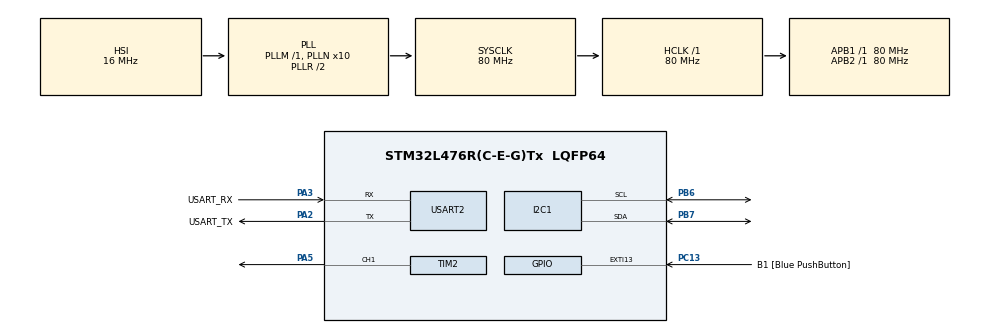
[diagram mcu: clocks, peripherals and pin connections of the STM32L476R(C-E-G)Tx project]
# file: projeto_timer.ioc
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Dma.I2C1_RX.0.Direction=DMA_PERIPH_TO_MEMORY
Dma.I2C1_RX.0.Instance=DMA2_Channel6
Dma.I2C1_RX.0.MemDataAlignment=DMA_MDATAALIGN_BYTE
Dma.I2C1_RX.0.MemInc=DMA_MINC_ENABLE
Dma.I2C1_RX.0.Mode=DMA_NORMAL
Dma.I2C1_RX.0.PeriphDataAlignment=DMA_PDATAALIGN_BYTE
Dma.I2C1_RX.0.PeriphInc=DMA_PINC_DISABLE
Dma.I2C1_RX.0.Priority=DMA_PRIORITY_LOW
Dma.I2C1_TX.1.Direction=DMA_MEMORY_TO_PERIPH
Dma.I2C1_TX.1.Instance=DMA2_Channel7
Dma.I2C1_TX.1.MemDataAlignment=DMA_MDATAALIGN_BYTE
Dma.I2C1_TX.1.MemInc=DMA_MINC_ENABLE
Dma.I2C1_TX.1.Mode=DMA_NORMAL
Dma.I2C1_TX.1.PeriphDataAlignment=DMA_PDATAALIGN_BYTE
Dma.I2C1_TX.1.PeriphInc=DMA_PINC_DISABLE
Dma.I2C1_TX.1.Priority=DMA_PRIORITY_LOW
Dma.Request0=I2C1_RX
Dma.Request1=I2C1_TX
Dma.Request2=USART2_RX
Dma.Request3=USART2_TX
Dma.USART2_RX.2.Direction=DMA_PERIPH_TO_MEMORY
Dma.USART2_RX.2.Instance=DMA1_Channel6
Dma.USART2_RX.2.MemDataAlignment=DMA_MDATAALIGN_BYTE
Dma.USART2_RX.2.MemInc=DMA_MINC_ENABLE
Dma.USART2_RX.2.Mode=DMA_NORMAL
Dma.USART2_RX.2.PeriphDataAlignment=DMA_PDATAALIGN_BYTE
Dma.USART2_RX.2.PeriphInc=DMA_PINC_DISABLE
Dma.USART2_RX.2.Priority=DMA_PRIORITY_LOW
Dma.USART2_TX.3.Direction=DMA_MEMORY_TO_PERIPH
Dma.USART2_TX.3.Instance=DMA1_Channel7
Dma.USART2_TX.3.MemDataAlignment=DMA_MDATAALIGN_BYTE
Dma.USART2_TX.3.MemInc=DMA_MINC_ENABLE
Dma.USART2_TX.3.Mode=DMA_NORMAL
Dma.USART2_TX.3.PeriphDataAlignment=DMA_PDATAALIGN_BYTE
Dma.USART2_TX.3.PeriphInc=DMA_PINC_DISABLE
Dma.USART2_TX.3.Priority=DMA_PRIORITY_LOW
I2C1.Timing=0x10D19CE4
Mcu.Family=STM32L4
Mcu.Name=STM32L476R(C-E-G)Tx
Mcu.Package=LQFP64
NVIC.DMA1_Channel6_IRQn=true\:0\:0\:false\:false\:true\:false\:true\:true
NVIC.DMA1_Channel7_IRQn=true\:0\:0\:false\:false\:true\:false\:true\:true
NVIC.DMA2_Channel6_IRQn=true\:0\:0\:false\:false\:true\:false\:true\:true
NVIC.DMA2_Channel7_IRQn=true\:0\:0\:false\:false\:true\:false\:true\:true
NVIC.EXTI15_10_IRQn=true\:0\:0\:false\:false\:true\:true\:true\:true
NVIC.I2C1_ER_IRQn=true\:0\:0\:false\:false\:true\:true\:true\:true
NVIC.I2C1_EV_IRQn=true\:0\:0\:false\:false\:true\:true\:true\:true
NVIC.PriorityGroup=NVIC_PRIORITYGROUP_4
NVIC.TIM2_IRQn=true\:0\:0\:false\:false\:true\:true\:true\:true
NVIC.USART2_IRQn=true\:0\:0\:false\:false\:true\:true\:true\:true
PA13\ (JTMS-SWDIO).GPIO_Label=TMS
PA13\ (JTMS-SWDIO).Mode=Serial_Wire
PA13\ (JTMS-SWDIO).Signal=SYS_JTMS-SWDIO
PA14\ (JTCK-SWCLK).GPIO_Label=TCK
PA14\ (JTCK-SWCLK).Mode=Serial_Wire
PA14\ (JTCK-SWCLK).Signal=SYS_JTCK-SWCLK
PA2.GPIO_Label=USART_TX
PA2.GPIO_Mode=GPIO_MODE_AF_PP
PA2.GPIO_PuPd=GPIO_NOPULL
PA2.GPIO_Speed=GPIO_SPEED_FREQ_VERY_HIGH
PA2.Mode=Asynchronous
PA2.Signal=USART2_TX
PA3.GPIO_Label=USART_RX
PA3.GPIO_Mode=GPIO_MODE_AF_PP
PA3.GPIO_PuPd=GPIO_NOPULL
PA3.GPIO_Speed=GPIO_SPEED_FREQ_VERY_HIGH
PA3.Mode=Asynchronous
PA3.Signal=USART2_RX
PA5.Signal=S_TIM2_CH1
PB3\ (JTDO-TRACESWO).GPIO_Label=SWO
PB3\ (JTDO-TRACESWO).Signal=SYS_JTDO-SWO
PB6.GPIO_Pu=GPIO_PULLUP
PB6.Mode=I2C
PB6.Signal=I2C1_SCL
PB7.GPIO_Pu=GPIO_PULLUP
PB7.Mode=I2C
PB7.Signal=I2C1_SDA
PC13.GPIO_Label=B1 [Blue PushButton]
PC13.GPIO_ModeDefaultEXTI=GPIO_MODE_IT_FALLING
PC13.GPIO_PuPd=GPIO_NOPULL
PC13.Signal=GPXTI13
PC14-OSC32_IN\ (PC14).Mode=LSE-External-Oscillator
PC14-OSC32_IN\ (PC14).Signal=RCC_OSC32_IN
PC15-OSC32_OUT\ (PC15).Mode=LSE-External-Oscillator
PC15-OSC32_OUT\ (PC15).Signal=RCC_OSC32_OUT
PH0-OSC_IN\ (PH0).Signal=RCC_OSC_IN
PH1-OSC_OUT\ (PH1).Signal=RCC_OSC_OUT
ProjectManager.HeapSize=0x200
ProjectManager.StackSize=0x400
ProjectManager.TargetToolchain=STM32CubeIDE
RCC.ADCFreq_Value=64000000
RCC.AHBFreq_Value=80000000
RCC.APB1Freq_Value=80000000
RCC.APB1TimFreq_Value=80000000
RCC.APB2Freq_Value=80000000
RCC.APB2TimFreq_Value=80000000
RCC.CortexFreq_Value=80000000
RCC.HCLKFreq_Value=80000000
RCC.HSE_VALUE=8000000
RCC.HSI_VALUE=16000000
RCC.MSI_VALUE=4000000
RCC.PLLN=10
RCC.PLLSourceVirtual=RCC_PLLSOURCE_HSI
RCC.PREFETCH_ENABLE=1
RCC.SYSCLKFreq_VALUE=80000000
RCC.SYSCLKSource=RCC_SYSCLKSOURCE_PLLCLK
RCC.USBFreq_Value=64000000
RCC.VCOOutputFreq_Value=160000000
SH.S_TIM2_CH1.0=TIM2_CH1,PWM Generation1 CH1
TIM2.Channel-PWM\ Generation1\ CH1=TIM_CHANNEL_1
TIM2.Period=99
TIM2.Prescaler=799
USART2.VirtualMode-Asynchronous=VM_ASYNC
VP_TIM2_VS_ClockSourceINT.Mode=Internal
board=NUCLEO-L476RG

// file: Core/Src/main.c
/* USER CODE BEGIN Header */
/**
  ******************************************************************************
  * @file           : main.c
  * @brief          : Main program body
  ******************************************************************************
  * @attention
  *
  * Copyright (c) 2026 STMicroelectronics.
  * All rights reserved.
  *
  * This software is licensed under terms that can be found in the LICENSE file
  * in the root directory of this software component.
  * If no LICENSE file comes with this software, it is provided AS-IS.
  *
  ******************************************************************************
  */
/* USER CODE END Header */
#include "main.h"

/* USER CODE BEGIN Includes */
#include <string.h>
#include <stdio.h>
#include <stdlib.h>
/* USER CODE END Includes */

/* USER CODE BEGIN PTD */
#define PCF8591_ADDRESS 0x48 << 1
#define CS_LOW()  HAL_GPIO_WritePin(GPIOC, GPIO_PIN_2, GPIO_PIN_RESET)
#define CS_HIGH() HAL_GPIO_WritePin(GPIOC, GPIO_PIN_2, GPIO_PIN_SET)
#define SENO_SAMPLES 10
/* USER CODE END PTD */

I2C_HandleTypeDef hi2c1;
DMA_HandleTypeDef hdma_i2c1_rx;
DMA_HandleTypeDef hdma_i2c1_tx;

TIM_HandleTypeDef htim2;

UART_HandleTypeDef huart2;
DMA_HandleTypeDef hdma_usart2_rx;
DMA_HandleTypeDef hdma_usart2_tx;

/* USER CODE BEGIN PV */
volatile uint8_t ain0 = 0;
volatile uint8_t ain3 = 0;

volatile uint8_t modo = 1;

volatile uint8_t flag_ler_pot = 0;
volatile uint8_t flag_ler_ldr = 0;
volatile uint8_t flag_pwm = 0;
volatile uint8_t flag_dac = 0;

volatile uint8_t i2c_busy = 0;

uint8_t rx_i2c_buffer[2];
uint8_t dac_tx_buffer[2];
uint8_t pcf_control_byte;

typedef enum {
    READ_NONE,
    READ_POT,
    READ_LDR

} I2C_State_t;

volatile I2C_State_t estado_i2c = READ_NONE;

uint8_t indice_seno = 0;

uint8_t tabela_senoide[SENO_SAMPLES] = {127, 206, 254, 254, 206, 127, 48, 0, 0, 48};

volatile uint8_t uart_busy = 0;
char uart_msg[32];
/* USER CODE END PV */

void SystemClock_Config(void);
static void MX_GPIO_Init(void);
static void MX_DMA_Init(void);
static void MX_I2C1_Init(void);
static void MX_USART2_UART_Init(void);
static void MX_TIM2_Init(void);
/* USER CODE BEGIN PFP */
void PCF8591_StartRead(uint8_t channel);
/* USER CODE END PFP */

/* USER CODE BEGIN 0 */
void PCF8591_SetDAC(uint8_t value) {
    if(i2c_busy) {
        return;
    }

    i2c_busy = 1;

    dac_tx_buffer[0] = 0x40;
    dac_tx_buffer[1] = value;

    HAL_I2C_Master_Transmit_IT(&hi2c1, PCF8591_ADDRESS, dac_tx_buffer, 2);
}

void AtualizarPWM(void) {
    uint32_t period = __HAL_TIM_GET_AUTORELOAD(&htim2);
    uint32_t duty = (ain3 * period) / 255;
    __HAL_TIM_SET_COMPARE(&htim2, TIM_CHANNEL_1, duty);
}

void AtualizarDAC(void) {
    uint8_t seno = tabela_senoide[indice_seno];
    uint8_t valor_dac = (ain0 * seno) / 255;

    PCF8591_SetDAC(valor_dac);

    if (!uart_busy) {
        uart_busy = 1;
        sprintf(uart_msg, "%d\n\r", valor_dac);
        HAL_UART_Transmit_IT(&huart2, (uint8_t*)uart_msg, strlen(uart_msg));
    }

    indice_seno++;
    if(indice_seno >= SENO_SAMPLES) indice_seno = 0;
}
/* USER CODE END 0 */

int main(void)
{

  /* MCU Configuration--------------------------------------------------------*/

  /* Reset of all peripherals, Initializes the Flash interface and the Systick. */
  HAL_Init();

  /* Configure the system clock */
  SystemClock_Config();

  /* Initialize all configured peripherals */
  MX_GPIO_Init();
  MX_DMA_Init();
  MX_I2C1_Init();
  MX_USART2_UART_Init();
  MX_TIM2_Init();
  /* USER CODE BEGIN 2 */
  HAL_TIM_Base_Start_IT(&htim2);
  HAL_TIM_PWM_Start(&htim2, TIM_CHANNEL_1);

  // Scanner I2C para debugar o endereço
  for (uint16_t i = 1; i < 128; i++) {
      if (HAL_I2C_IsDeviceReady(&hi2c1, (uint16_t)(i<<1), 2, 100) == HAL_OK) {
          char i2c_msg[32];
          sprintf(i2c_msg, "I2C_ADDR:0x%X\n\r", i);
          HAL_UART_Transmit(&huart2, (uint8_t*)i2c_msg, strlen(i2c_msg), 100);
      }
  }
  // Se não encontrar nada, avisa
  HAL_UART_Transmit(&huart2, (uint8_t*)"SCAN_FIM\n\r", 10, 100);
  /* USER CODE END 2 */

  /* Infinite loop */
  while (1)
  {

    /* USER CODE BEGIN 3 */
	    if((modo == 1 || modo == 3) && flag_ler_pot && !i2c_busy) {
	        flag_ler_pot = 0;
	        PCF8591_StartRead(0); // Canal 0: Potenciômetro (conforme PDF)
	    }

	    if((modo == 2 || modo == 3) && flag_ler_ldr && !i2c_busy) {
	        flag_ler_ldr = 0;
	        PCF8591_StartRead(1); // Canal 1: LDR (conforme PDF)
	    }

	    if((modo == 1 || modo == 3) && flag_pwm) {
	        flag_pwm = 0;
	        AtualizarPWM();
	    }

	    if((modo == 2 || modo == 3) && flag_dac && !i2c_busy) {
	        flag_dac = 0;
	        AtualizarDAC();
	    }
  }
  /* USER CODE END 3 */
}

void SystemClock_Config(void)
{
  RCC_OscInitTypeDef RCC_OscInitStruct = {0};
  RCC_ClkInitTypeDef RCC_ClkInitStruct = {0};

  /** Configure the main internal regulator output voltage
  */
  if (HAL_PWREx_ControlVoltageScaling(PWR_REGULATOR_VOLTAGE_SCALE1) != HAL_OK)
  {
    Error_Handler();
  }

  /** Initializes the RCC Oscillators according to the specified parameters
  * in the RCC_OscInitTypeDef structure.
  */
  RCC_OscInitStruct.OscillatorType = RCC_OSCILLATORTYPE_HSI;
  RCC_OscInitStruct.HSIState = RCC_HSI_ON;
  RCC_OscInitStruct.HSICalibrationValue = RCC_HSICALIBRATION_DEFAULT;
  RCC_OscInitStruct.PLL.PLLState = RCC_PLL_ON;
  RCC_OscInitStruct.PLL.PLLSource = RCC_PLLSOURCE_HSI;
  RCC_OscInitStruct.PLL.PLLM = 1;
  RCC_OscInitStruct.PLL.PLLN = 10;
  RCC_OscInitStruct.PLL.PLLP = RCC_PLLP_DIV7;
  RCC_OscInitStruct.PLL.PLLQ = RCC_PLLQ_DIV2;
  RCC_OscInitStruct.PLL.PLLR = RCC_PLLR_DIV2;
  if (HAL_RCC_OscConfig(&RCC_OscInitStruct) != HAL_OK)
  {
    Error_Handler();
  }

  /** Initializes the CPU, AHB and APB buses clocks
  */
  RCC_ClkInitStruct.ClockType = RCC_CLOCKTYPE_HCLK|RCC_CLOCKTYPE_SYSCLK
                              |RCC_CLOCKTYPE_PCLK1|RCC_CLOCKTYPE_PCLK2;
  RCC_ClkInitStruct.SYSCLKSource = RCC_SYSCLKSOURCE_PLLCLK;
  RCC_ClkInitStruct.AHBCLKDivider = RCC_SYSCLK_DIV1;
  RCC_ClkInitStruct.APB1CLKDivider = RCC_HCLK_DIV1;
  RCC_ClkInitStruct.APB2CLKDivider = RCC_HCLK_DIV1;

  if (HAL_RCC_ClockConfig(&RCC_ClkInitStruct, FLASH_LATENCY_4) != HAL_OK)
  {
    Error_Handler();
  }
}

static void MX_I2C1_Init(void)
{

  hi2c1.Instance = I2C1;
  hi2c1.Init.Timing = 0x10D19CE4;
  hi2c1.Init.OwnAddress1 = 0;
  hi2c1.Init.AddressingMode = I2C_ADDRESSINGMODE_7BIT;
  hi2c1.Init.DualAddressMode = I2C_DUALADDRESS_DISABLE;
  hi2c1.Init.OwnAddress2 = 0;
  hi2c1.Init.OwnAddress2Masks = I2C_OA2_NOMASK;
  hi2c1.Init.GeneralCallMode = I2C_GENERALCALL_DISABLE;
  hi2c1.Init.NoStretchMode = I2C_NOSTRETCH_DISABLE;
  if (HAL_I2C_Init(&hi2c1) != HAL_OK)
  {
    Error_Handler();
  }

  /** Configure Analogue filter
  */
  if (HAL_I2CEx_ConfigAnalogFilter(&hi2c1, I2C_ANALOGFILTER_ENABLE) != HAL_OK)
  {
    Error_Handler();
  }

  /** Configure Digital filter
  */
  if (HAL_I2CEx_ConfigDigitalFilter(&hi2c1, 0) != HAL_OK)
  {
    Error_Handler();
  }

}

static void MX_TIM2_Init(void)
{

  TIM_ClockConfigTypeDef sClockSourceConfig = {0};
  TIM_MasterConfigTypeDef sMasterConfig = {0};
  TIM_OC_InitTypeDef sConfigOC = {0};

  htim2.Instance = TIM2;
  htim2.Init.Prescaler = 799;
  htim2.Init.CounterMode = TIM_COUNTERMODE_UP;
  htim2.Init.Period = 99;
  htim2.Init.ClockDivision = TIM_CLOCKDIVISION_DIV1;
  htim2.Init.AutoReloadPreload = TIM_AUTORELOAD_PRELOAD_DISABLE;
  if (HAL_TIM_Base_Init(&htim2) != HAL_OK)
  {
    Error_Handler();
  }
  sClockSourceConfig.ClockSource = TIM_CLOCKSOURCE_INTERNAL;
  if (HAL_TIM_ConfigClockSource(&htim2, &sClockSourceConfig) != HAL_OK)
  {
    Error_Handler();
  }
  if (HAL_TIM_PWM_Init(&htim2) != HAL_OK)
  {
    Error_Handler();
  }
  sMasterConfig.MasterOutputTrigger = TIM_TRGO_RESET;
  sMasterConfig.MasterSlaveMode = TIM_MASTERSLAVEMODE_DISABLE;
  if (HAL_TIMEx_MasterConfigSynchronization(&htim2, &sMasterConfig) != HAL_OK)
  {
    Error_Handler();
  }
  sConfigOC.OCMode = TIM_OCMODE_PWM1;
  sConfigOC.Pulse = 0;
  sConfigOC.OCPolarity = TIM_OCPOLARITY_HIGH;
  sConfigOC.OCFastMode = TIM_OCFAST_DISABLE;
  if (HAL_TIM_PWM_ConfigChannel(&htim2, &sConfigOC, TIM_CHANNEL_1) != HAL_OK)
  {
    Error_Handler();
  }
  HAL_TIM_MspPostInit(&htim2);

}

static void MX_USART2_UART_Init(void)
{

  huart2.Instance = USART2;
  huart2.Init.BaudRate = 115200;
  huart2.Init.WordLength = UART_WORDLENGTH_8B;
  huart2.Init.StopBits = UART_STOPBITS_1;
  huart2.Init.Parity = UART_PARITY_NONE;
  huart2.Init.Mode = UART_MODE_TX_RX;
  huart2.Init.HwFlowCtl = UART_HWCONTROL_NONE;
  huart2.Init.OverSampling = UART_OVERSAMPLING_16;
  huart2.Init.OneBitSampling = UART_ONE_BIT_SAMPLE_DISABLE;
  huart2.AdvancedInit.AdvFeatureInit = UART_ADVFEATURE_NO_INIT;
  if (HAL_UART_Init(&huart2) != HAL_OK)
  {
    Error_Handler();
  }

}

static void MX_DMA_Init(void)
{

  /* DMA controller clock enable */
  __HAL_RCC_DMA2_CLK_ENABLE();
  __HAL_RCC_DMA1_CLK_ENABLE();

  /* DMA interrupt init */
  /* DMA1_Channel6_IRQn interrupt configuration */
  HAL_NVIC_SetPriority(DMA1_Channel6_IRQn, 0, 0);
  HAL_NVIC_EnableIRQ(DMA1_Channel6_IRQn);
  /* DMA1_Channel7_IRQn interrupt configuration */
  HAL_NVIC_SetPriority(DMA1_Channel7_IRQn, 0, 0);
  HAL_NVIC_EnableIRQ(DMA1_Channel7_IRQn);
  /* DMA2_Channel6_IRQn interrupt configuration */
  HAL_NVIC_SetPriority(DMA2_Channel6_IRQn, 0, 0);
  HAL_NVIC_EnableIRQ(DMA2_Channel6_IRQn);
  /* DMA2_Channel7_IRQn interrupt configuration */
  HAL_NVIC_SetPriority(DMA2_Channel7_IRQn, 0, 0);
  HAL_NVIC_EnableIRQ(DMA2_Channel7_IRQn);

}

static void MX_GPIO_Init(void)
{
  GPIO_InitTypeDef GPIO_InitStruct = {0};

  /* GPIO Ports Clock Enable */
  __HAL_RCC_GPIOC_CLK_ENABLE();
  __HAL_RCC_GPIOH_CLK_ENABLE();
  __HAL_RCC_GPIOA_CLK_ENABLE();
  __HAL_RCC_GPIOB_CLK_ENABLE();

  /*Configure GPIO pin : B1_Pin */
  GPIO_InitStruct.Pin = B1_Pin;
  GPIO_InitStruct.Mode = GPIO_MODE_IT_FALLING;
  GPIO_InitStruct.Pull = GPIO_NOPULL;
  HAL_GPIO_Init(B1_GPIO_Port, &GPIO_InitStruct);

  /* EXTI interrupt init*/
  HAL_NVIC_SetPriority(EXTI15_10_IRQn, 0, 0);
  HAL_NVIC_EnableIRQ(EXTI15_10_IRQn);

}

/* USER CODE BEGIN 4 */
void PCF8591_StartRead(uint8_t channel) {
	if (i2c_busy) {
		return;
	}

    pcf_control_byte = 0x40 | channel;
	i2c_busy = 1;

	if (channel == 0) {
		estado_i2c = READ_POT;
	}

	if (channel == 1) {
		estado_i2c = READ_LDR;
	}

	HAL_I2C_Master_Transmit_DMA(&hi2c1, PCF8591_ADDRESS, &pcf_control_byte, 1);
}

void HAL_I2C_MasterRxCpltCallback(I2C_HandleTypeDef *hi2c) {
    if(hi2c->Instance == I2C1) {
        uint8_t valor = rx_i2c_buffer[1];

        if(estado_i2c == READ_POT) {
        	ain3 = valor;
        }
        if(estado_i2c == READ_LDR) {
        	ain0 = valor;
        }

        i2c_busy = 0;
        estado_i2c = READ_NONE;
    }
}

void HAL_I2C_MasterTxCpltCallback(I2C_HandleTypeDef *hi2c) {
	if (hi2c->Instance == I2C1) {
        if (estado_i2c != READ_NONE) {
		    HAL_I2C_Master_Receive_DMA(&hi2c1, PCF8591_ADDRESS, rx_i2c_buffer, 2);
        } else {
            i2c_busy = 0; // Transmissão do SetDAC concluída
        }
	}
}

void HAL_TIM_PeriodElapsedCallback(TIM_HandleTypeDef *htim) {
    if(htim->Instance == TIM2) {
        static uint16_t contador = 0;
        contador++;
        if(contador >= 100) {
            contador = 0;
            flag_dac = 1;
            flag_ler_pot = 1;
            flag_ler_ldr = 1;
            flag_pwm = 1;
        }
    }
}

void HAL_UART_TxCpltCallback(UART_HandleTypeDef *huart) {
    if (huart->Instance == USART2) {
        uart_busy = 0;
    }
}

void HAL_GPIO_EXTI_Callback(uint16_t GPIO_Pin) {
    if(GPIO_Pin == B1_Pin) {
        modo++;
        if(modo > 3) {
        	modo = 1;
        }
    }
}

void HAL_I2C_ErrorCallback(I2C_HandleTypeDef *hi2c) {
    if (hi2c->Instance == I2C1) {
        i2c_busy = 0;
        estado_i2c = READ_NONE;
    }
}
/* USER CODE END 4 */

void Error_Handler(void)
{
  __disable_irq();
  while (1)
  {
  }
}
